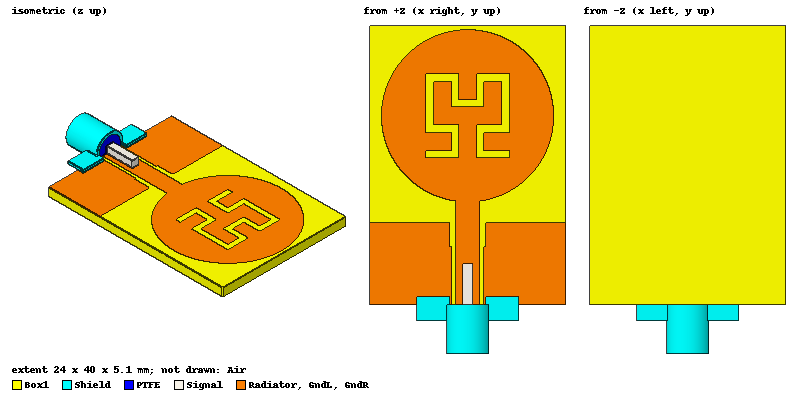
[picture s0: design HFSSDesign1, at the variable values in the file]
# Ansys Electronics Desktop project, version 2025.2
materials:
  vacuum: permittivity=1
  FR4_paper: permittivity=4.4 dielectric_loss_tangent=0.025
  PTFE_sma: permittivity=2.1 dielectric_loss_tangent=0.0002
  pec: conductivity=1e+30

design HFSSDesign1 (HFSS, HFSS Modal Network, model units mm)
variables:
  ws = 24mm
  ls = 34mm
  h = 1.6mm
  a = 10.5mm
  wf = 3mm
  lf = 12.5mm
  g = 0.5mm
  lg = 10mm
  lc = 6mm
  rp = 0.635mm
  rd = 2.05mm
  rt = 2.55mm
  pad = 32mm
  cy = -ls/2+lf+a
  gw = ws/2-wf/2-g
  zc = h+rp
  ap = 32mm
  S = 0.9mm
  dd = 3.1mm
  x0 = -1.5*dd
  y0 = cy-1.5*dd
  w1 = 4.5mm
  l1 = 3mm
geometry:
  Box1 [FR4_paper] = box(corner=(-ws/2, -ls/2, 0), size=(ws, ls, h))
  Feed = rectangle(corner=(-wf/2, -ls/2, h), x_size=wf, y_size=lf+1mm)
  Radiator = circle(normal=Z, centre=(0mm, cy, h), radius=a)
  GndL = rectangle(corner=(-ws/2, -ls/2, h), x_size=gw, y_size=lg)
  GndR = rectangle(corner=(wf/2+g, -ls/2, h), x_size=gw, y_size=lg)
  Radiator.unite(Feed)
  PTFE [PTFE_sma] = cylinder(axis=Y, base_centre=(0mm, -ls/2-lc, zc), radius=rd, height=lc)
  Shield [pec] = cylinder(axis=Y, base_centre=(0mm, -ls/2-lc, zc), radius=rt, height=lc)
  Signal [pec] = cylinder(axis=Y, base_centre=(0mm, -ls/2-lc, zc), radius=rp, height=lc)
  PTFE_1 = PTFE.copy()
  Shield.subtract(PTFE_1)
  Pin_1 = Signal.copy()
  PTFE.subtract(Pin_1)
  tab = box(corner=(-rp, -ls/2, h), size=(2*rp, 5mm, 2*rp))
  Signal.unite(tab)
  PadL = box(corner=(-6.2mm, -ls/2-2mm, h), size=(4mm, 3mm, 0.5mm))
  PadR = box(corner=(2.2mm, -ls/2-2mm, h), size=(4mm, 3mm, 0.5mm))
  Shield.unite(PadL, PadR)
  Air [vacuum] = box(corner=(-ws/2-ap, -ls/2-lc, -ap), size=(ws+2*ap, ls+lc+ap, h+2*ap))
  SlotTool = rectangle(corner=(x0-S/2, y0-S/2, h), x_size=dd+S, y_size=S)
  R2 = rectangle(corner=(x0+dd-S/2, y0-S/2, h), x_size=S, y_size=dd+S)
  R3 = rectangle(corner=(x0-S/2, y0+dd-S/2, h), x_size=dd+S, y_size=S)
  R4 = rectangle(corner=(x0-S/2, y0+dd-S/2, h), x_size=S, y_size=2*dd+S)
  R5 = rectangle(corner=(x0-S/2, y0+3*dd-S/2, h), x_size=dd+S, y_size=S)
  R6 = rectangle(corner=(x0+dd-S/2, y0+2*dd-S/2, h), x_size=S, y_size=dd+S)
  R7 = rectangle(corner=(x0+dd-S/2, y0+2*dd-S/2, h), x_size=dd+S, y_size=S)
  R8 = rectangle(corner=(x0+2*dd-S/2, y0+2*dd-S/2, h), x_size=S, y_size=dd+S)
  R9 = rectangle(corner=(x0+2*dd-S/2, y0+3*dd-S/2, h), x_size=dd+S, y_size=S)
  R10 = rectangle(corner=(x0+3*dd-S/2, y0+dd-S/2, h), x_size=S, y_size=2*dd+S)
  R11 = rectangle(corner=(x0+2*dd-S/2, y0+dd-S/2, h), x_size=dd+S, y_size=S)
  R12 = rectangle(corner=(x0+2*dd-S/2, y0-S/2, h), x_size=S, y_size=dd+S)
  R13 = rectangle(corner=(x0+2*dd-S/2, y0-S/2, h), x_size=dd+S, y_size=S)
  SlotTool.unite(R2..R13)
  SlotTool_1 = SlotTool.copy()
  SlotTool.delete()
  Radiator.subtract(SlotTool_1)
  Notch = rectangle(corner=(-w1/2, -ls/2+lg-l1, h), x_size=w1, y_size=l1)
  Notch_1 = Notch.copy()
  GndL.subtract(Notch_1)
  Notch_2 = Notch.copy()
  Notch.delete()
  GndR.subtract(Notch_2)
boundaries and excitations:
  PerfE1: Perfect E Objects=[Radiator, GndR, GndL]
  Rad1: Radiation Faces=Air.face(all 6)
  1: Wave Port Faces=PTFE.face(-y end) WavePortType=Modal NumModes=1 Modes{Mode1{CharImp=Zpi RenormImp=50ohm}}
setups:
  Setup2: HfssDriven MultipleAdaptiveFreqsSetup{AdaptAt{Frequency=2.45GHz Delta=0.02} AdaptAt{Frequency=3.6GHz Delta=0.02} AdaptAt{Frequency=5.7GHz Delta=0.02}} MaximumPasses=15 MinimumPasses=1 MinimumConvergedPasses=1 PercentRefinement=30 BasisOrder=1 PortAccuracy=2 DrivenSolverType="Direct Solver"
    sweep Sweep: 2GHz to 6.5GHz step 0.01GHz; Type=Interpolating InterpTolerance=0.5 InterpMaxSolns=250 InterpUsePortImped=false PassivityErrorTolerance=0.0001
    sweep Sweep1: 2.3GHz to 2.6GHz step 0.0025GHz; Type=Discrete
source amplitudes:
  1:1: 1W 0deg
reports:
  S Parameter Plot1: dB(S(1,1)) vs Freq on Setup2 : Sweep
